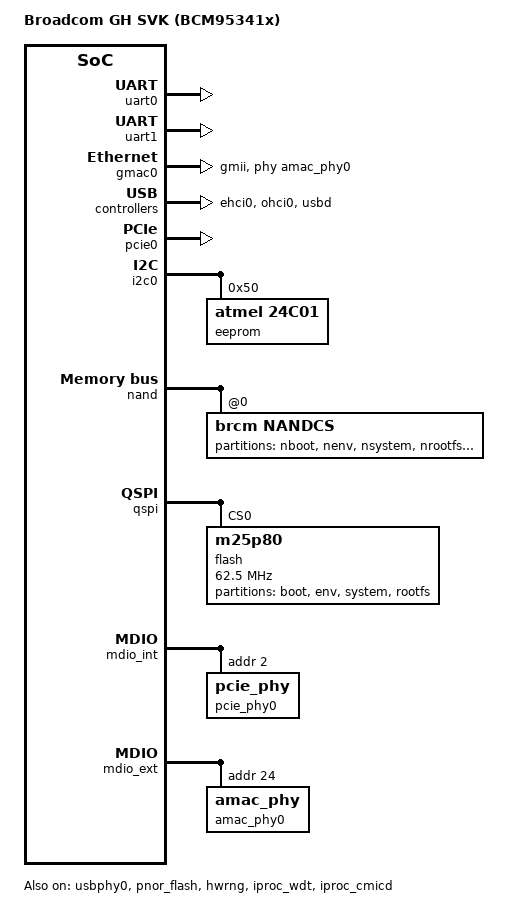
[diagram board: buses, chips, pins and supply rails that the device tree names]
/*
 *  BSD LICENSE
 *
 *  Copyright(c) 2016 Broadcom Corporation.  All rights reserved.
 *
 *  Redistribution and use in source and binary forms, with or without
 *  modification, are permitted provided that the following conditions
 *  are met:
 *
 *    * Redistributions of source code must retain the above copyright
 *      notice, this list of conditions and the following disclaimer.
 *    * Redistributions in binary form must reproduce the above copyright
 *      notice, this list of conditions and the following disclaimer in
 *      the documentation and/or other materials provided with the
 *      distribution.
 *    * Neither the name of Broadcom Corporation nor the names of its
 *      contributors may be used to endorse or promote products derived
 *      from this software without specific prior written permission.
 *
 *  THIS SOFTWARE IS PROVIDED BY THE COPYRIGHT HOLDERS AND CONTRIBUTORS
 *  "AS IS" AND ANY EXPRESS OR IMPLIED WARRANTIES, INCLUDING, BUT NOT
 *  LIMITED TO, THE IMPLIED WARRANTIES OF MERCHANTABILITY AND FITNESS FOR
 *  A PARTICULAR PURPOSE ARE DISCLAIMED. IN NO EVENT SHALL THE COPYRIGHT
 *  OWNER OR CONTRIBUTORS BE LIABLE FOR ANY DIRECT, INDIRECT, INCIDENTAL,
 *  SPECIAL, EXEMPLARY, OR CONSEQUENTIAL DAMAGES (INCLUDING, BUT NOT
 *  LIMITED TO, PROCUREMENT OF SUBSTITUTE GOODS OR SERVICES; LOSS OF USE,
 *  DATA, OR PROFITS; OR BUSINESS INTERRUPTION) HOWEVER CAUSED AND ON ANY
 *  THEORY OF LIABILITY, WHETHER IN CONTRACT, STRICT LIABILITY, OR TORT
 *  (INCLUDING NEGLIGENCE OR OTHERWISE) ARISING IN ANY WAY OUT OF THE USE
 *  OF THIS SOFTWARE, EVEN IF ADVISED OF THE POSSIBILITY OF SUCH DAMAGE.
 */

/dts-v1/;

#include "bcm-greyhound.dtsi"

/ {
	model = "Broadcom GH SVK (BCM95341x)";
	compatible = "brcm,bcm95341x", "brcm,greyhound";

	aliases {
		serial0 = &uart0;
		serial1 = &uart1;
		ethernet0 = &gmac0;
	};

	chosen {
		bootargs = "console=ttyS0,115200n8 maxcpus=1 mem=496M";
	};
};

&uart0 {
	status = "okay";
};

&uart1 {
	status = "okay";
};

&gmac0 {
	status = "okay";
	phy-handle = <&amac_phy0>;
	phy-mode = "gmii"; /* "gmii-id", "gmii-rxid" */
};

&usbphy0 {
	status = "okay";
};

&ehci0 {
	status = "okay";
};

&ohci0 {
	status = "okay";
};

&usbd {
	status = "okay";
};

&gpio_ccg {
	status = "okay";
};

&pcie0 {
	status = "okay";
	mdio-phy-handle = <&pcie_phy0>;
};

&i2c0 {
	status = "okay";
	eeprom@0x50 {
		compatible = "atmel,24c01";
		reg = <0x50>;
		pagesize = <8>;
	};
};

&nand {
	status = "okay";
	nandcs@1 {
		compatible = "brcm,nandcs";
		reg = <0>;
		nand-on-flash-bbt;
		/*nand-bus-width = <8>;*/
		nand-ecc-strength = <24>;
		nand-ecc-step-size = <1024>;
		brcm,nand-oob-sector-size = <27>;
		#address-cells = <1>;
		#size-cells = <1>;

		partition@0 {
			label = "nboot";
			reg = <0x0 0x200000>;
			/*read-only;*/
		};
		partition@1 {
			label = "nenv";
			reg = <0x200000 0x400000>;
		};
		partition@2 {
			label = "nsystem";
			reg = <0x600000 0xa00000>;
		};
		partition@3 {
			label = "nrootfs";
			reg = <0x1000000 0xf000000>;
		};
		partition@4 {
			label = "ncustfs";
			reg = <0x10000000 0x30000000>;
		};
	};
};

&qspi {
	status = "okay";
	flash: m25p80@0 {
		#address-cells = <1>;
		#size-cells = <1>;
		compatible = "m25p80";
		m25p,fast-read = <1>;
		spi-max-frequency = <62500000>;
		reg = <0x0>;
		partition@0 {
			label = "boot";
			reg = <0x00000000 0x000c0000>;
			/*read-only;*/
		};
		partition@1 {
			label = "env";
			reg = <0x000c0000 0x00040000>;
		};
		partition@2 {
			label = "system";
			reg = <0x00100000 0x00f00000>;
		};
		partition@3 {
			label = "rootfs";
			reg = <0x01000000 0x03000000>;
		};
	};
};

&pnor_flash {
	status = "okay";

	partition@0 {
		label = "pboot";
		reg = <0x0 0xc0000>;
		/*read-only;*/
	};
	partition@1 {
		label = "penv";
		reg = <0xc0000 0x40000>;
	};
	partition@2 {
		label = "psystem";
		reg = <0x100000 0xf00000>;
	};
	partition@3 {
		label = "prootfs";
		reg = <0x1000000 0x1000000>;
	};
	partition@4 {
		label = "pcustfs";
		reg = <0x2000000 0x2000000>;
	};
};

&mdio_int {
	status = "okay";
	pcie_phy0: pcie_phy@0 {
		reg = <2>;
	};
};

&mdio_ext {
	status = "okay";
	amac_phy0: amac_phy@0 {
		reg = <24>;
	};
};

&hwrng {
	status = "okay";
};

&iproc_wdt {
	status = "okay";
};

&dmac0 {
	status = "okay";
};

&iproc_cmicd {
	status = "okay";
};
